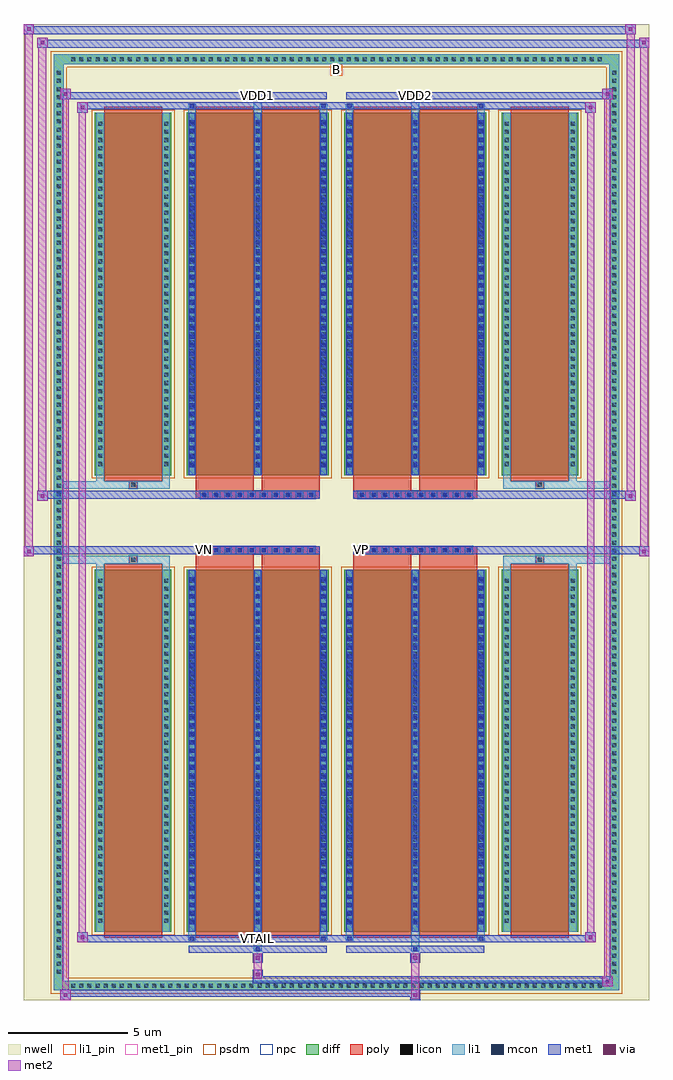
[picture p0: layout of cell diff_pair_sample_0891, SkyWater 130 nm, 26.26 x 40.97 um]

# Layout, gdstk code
import gdstk
lib = gdstk.Library(unit=1e-6, precision=5e-09)
def R(c, l, rs):  # rectangles x0, y0, x1, y1
    for r in rs: c.add(gdstk.rectangle(r[:2], r[2:], *l))
def A(c, l, x, y, w, h, nx, ny, dx, dy):  # array of equal rectangles
    R(c, l, [(x+i*dx, y+j*dy, x+i*dx+w, y+j*dy+h) for i in range(nx) for j in range(ny)])
def P(c, l, *ps):  # polygons
    for p in ps: c.add(gdstk.Polygon(p, *l))
nwell = (64, 20)
diff = (65, 20)
poly = (66, 20)
licon = (66, 44)
li1_pin = (67, 16)
li1 = (67, 20)
mcon = (67, 44)
met1_pin = (68, 16)
met1 = (68, 20)
via = (68, 44)
met2 = (69, 20)
psdm = (94, 20)
npc = (95, 20)

diff_pair_sample_0891 = lib.new_cell('diff_pair_sample_0891')
R(diff_pair_sample_0891, nwell, [(-13.13,-20.05,13.13,20.92), (-10.45,-18.24,-0.01,-0.8), (0.01,-18.24,10.45,-0.8), (-10.45,0.8,-0.01,18.24), (0.01,0.8,10.45,18.24)])
A(diff_pair_sample_0891, diff, -11.255, -19.65, 0.41, 0.41, 66, 2, 0.34, 38.89)
A(diff_pair_sample_0891, diff, -11.86, -19.075, 0.41, 0.41, 1, 112, 0, 0.34)
A(diff_pair_sample_0891, diff, 11.45, -19.075, 0.41, 0.41, 1, 112, 0, 0.34)
R(diff_pair_sample_0891, diff, [(-11.255,-19.65,11.255,-19.24), (-11.86,-19.075,-11.45,19.075), (11.45,-19.075,11.86,19.075), (-10.14,-17.195,-6.93,-1.985), (-6.29,-17.195,-0.32,-1.985), (0.32,-17.195,6.29,-1.985), (6.93,-17.195,10.14,-1.985), (-10.14,1.985,-6.93,17.195), (-6.29,1.985,-0.32,17.195), (0.32,1.985,6.29,17.195), (6.93,1.985,10.14,17.195), (-11.255,19.24,11.255,19.65)])
P(diff_pair_sample_0891, diff, [(11.86,19.65),(-11.86,19.65),(-11.86,-19.24),(-11.45,-19.24),(-11.45,19.24),(11.45,19.24),(11.45,-19.24),(-11.45,-19.24),(-11.86,-19.24),(-11.86,-19.65),(11.86,-19.65)])
A(diff_pair_sample_0891, poly, -5.72, -1.33, 0.33, 0.33, 10, 2, 0.5, 2.33)
A(diff_pair_sample_0891, poly, 0.89, -1.33, 0.33, 0.33, 10, 2, 0.5, 2.33)
R(diff_pair_sample_0891, poly, [(-9.75,-17.445,-7.32,-1.735), (-5.9,-17.445,-3.47,-1.735), (-3.14,-17.445,-0.71,-1.735), (0.71,-17.445,3.14,-1.735), (3.47,-17.445,5.9,-1.735), (7.32,-17.445,9.75,-1.735), (-8.7,-1.735,-8.37,-1.405), (-8.7,-1.735,-8.37,-1.405), (-5.9,-1.735,-3.47,-1.33), (-3.14,-1.735,-0.71,-1.33), (0.71,-1.735,3.14,-1.33), (3.47,-1.735,5.9,-1.33), (8.37,-1.735,8.7,-1.405), (8.37,-1.735,8.7,-1.405), (-5.9,-1.33,-0.71,-1), (0.71,-1.33,5.9,-1), (-5.9,1,-0.71,1.33), (0.71,1,5.9,1.33), (-5.9,1.33,-3.47,1.735), (-3.14,1.33,-0.71,1.735), (0.71,1.33,3.14,1.735), (3.47,1.33,5.9,1.735), (-8.7,1.405,-8.37,1.735), (-8.7,1.405,-8.37,1.735), (8.37,1.405,8.7,1.735), (8.37,1.405,8.7,1.735), (-9.75,1.735,-7.32,17.445), (-5.9,1.735,-3.47,17.445), (-3.14,1.735,-0.71,17.445), (0.71,1.735,3.14,17.445), (3.47,1.735,5.9,17.445), (7.32,1.735,9.75,17.445)])
A(diff_pair_sample_0891, licon, -11.135, -19.53, 0.17, 0.17, 66, 2, 0.34, 38.89)
A(diff_pair_sample_0891, licon, -11.74, -18.955, 0.17, 0.17, 1, 112, 0, 0.34)
A(diff_pair_sample_0891, licon, 11.57, -18.955, 0.17, 0.17, 1, 112, 0, 0.34)
A(diff_pair_sample_0891, licon, -10, -16.815, 0.17, 0.17, 1, 43, 0, 0.34)
A(diff_pair_sample_0891, licon, -7.24, -16.815, 0.17, 0.17, 1, 43, 0, 0.34)
A(diff_pair_sample_0891, licon, -6.15, -16.815, 0.17, 0.17, 3, 43, 2.76, 0.34)
A(diff_pair_sample_0891, licon, 0.46, -16.815, 0.17, 0.17, 3, 43, 2.76, 0.34)
A(diff_pair_sample_0891, licon, 7.07, -16.815, 0.17, 0.17, 1, 43, 0, 0.34)
A(diff_pair_sample_0891, licon, 9.83, -16.815, 0.17, 0.17, 1, 43, 0, 0.34)
A(diff_pair_sample_0891, licon, -5.64, -1.25, 0.17, 0.17, 10, 2, 0.5, 2.33)
A(diff_pair_sample_0891, licon, 0.97, -1.25, 0.17, 0.17, 10, 2, 0.5, 2.33)
A(diff_pair_sample_0891, licon, -10, 2.365, 0.17, 0.17, 1, 43, 0, 0.34)
A(diff_pair_sample_0891, licon, -7.24, 2.365, 0.17, 0.17, 1, 43, 0, 0.34)
A(diff_pair_sample_0891, licon, -6.15, 2.365, 0.17, 0.17, 3, 43, 2.76, 0.34)
A(diff_pair_sample_0891, licon, 0.46, 2.365, 0.17, 0.17, 3, 43, 2.76, 0.34)
A(diff_pair_sample_0891, licon, 7.07, 2.365, 0.17, 0.17, 1, 43, 0, 0.34)
A(diff_pair_sample_0891, licon, 9.83, 2.365, 0.17, 0.17, 1, 43, 0, 0.34)
R(diff_pair_sample_0891, licon, [(-8.62,-1.655,-8.45,-1.485), (8.45,-1.655,8.62,-1.485), (-8.62,1.485,-8.45,1.655), (8.45,1.485,8.62,1.655)])
R(diff_pair_sample_0891, li1_pin, [(-0.25,18.74,0.25,19.24)])
A(diff_pair_sample_0891, li1, -11.215, -19.61, 0.33, 0.33, 66, 2, 0.34, 38.89)
A(diff_pair_sample_0891, li1, -11.82, -19.035, 0.33, 0.33, 1, 112, 0, 0.34)
A(diff_pair_sample_0891, li1, 11.49, -19.035, 0.33, 0.33, 1, 112, 0, 0.34)
A(diff_pair_sample_0891, li1, -6.23, -17.195, 0.33, 15.21, 3, 2, 2.76, 19.18)
A(diff_pair_sample_0891, li1, 0.38, -17.195, 0.33, 15.21, 3, 2, 2.76, 19.18)
A(diff_pair_sample_0891, li1, -10.08, -16.895, 0.33, 0.33, 1, 43, 0, 0.34)
A(diff_pair_sample_0891, li1, -7.32, -16.895, 0.33, 0.33, 1, 43, 0, 0.34)
A(diff_pair_sample_0891, li1, -6.23, -16.895, 0.33, 0.33, 3, 43, 2.76, 0.34)
A(diff_pair_sample_0891, li1, 0.38, -16.895, 0.33, 0.33, 3, 43, 2.76, 0.34)
A(diff_pair_sample_0891, li1, 6.99, -16.895, 0.33, 0.33, 1, 43, 0, 0.34)
A(diff_pair_sample_0891, li1, 9.75, -16.895, 0.33, 0.33, 1, 43, 0, 0.34)
A(diff_pair_sample_0891, li1, -6.15, -16.875, 0.17, 0.17, 3, 41, 2.76, 0.36)
A(diff_pair_sample_0891, li1, -6.15, -16.875, 0.17, 14.57, 3, 2, 2.76, 19.18)
A(diff_pair_sample_0891, li1, 0.46, -16.875, 0.17, 0.17, 3, 41, 2.76, 0.36)
A(diff_pair_sample_0891, li1, 0.46, -16.875, 0.17, 14.57, 3, 2, 2.76, 19.18)
A(diff_pair_sample_0891, li1, -5.72, -1.33, 0.33, 0.33, 10, 2, 0.5, 2.33)
A(diff_pair_sample_0891, li1, 0.89, -1.33, 0.33, 0.33, 10, 2, 0.5, 2.33)
A(diff_pair_sample_0891, li1, -10.08, 2.285, 0.33, 0.33, 1, 43, 0, 0.34)
A(diff_pair_sample_0891, li1, -7.32, 2.285, 0.33, 0.33, 1, 43, 0, 0.34)
A(diff_pair_sample_0891, li1, -6.23, 2.285, 0.33, 0.33, 3, 43, 2.76, 0.34)
A(diff_pair_sample_0891, li1, 0.38, 2.285, 0.33, 0.33, 3, 43, 2.76, 0.34)
A(diff_pair_sample_0891, li1, 6.99, 2.285, 0.33, 0.33, 1, 43, 0, 0.34)
A(diff_pair_sample_0891, li1, 9.75, 2.285, 0.33, 0.33, 1, 43, 0, 0.34)
A(diff_pair_sample_0891, li1, -6.15, 2.305, 0.17, 0.17, 3, 41, 2.76, 0.36)
A(diff_pair_sample_0891, li1, 0.46, 2.305, 0.17, 0.17, 3, 41, 2.76, 0.36)
R(diff_pair_sample_0891, li1, [(-11.86,-19.65,-11.45,-19.24), (-11.86,-19.65,-11.45,-19.24), (-11.45,-19.65,11.45,-19.24), (11.45,-19.65,11.86,-19.24), (11.45,-19.65,11.86,-19.24), (-11.86,-19.24,-11.45,19.24), (11.45,-19.24,11.86,19.24), (-3.47,-18,-3.14,-17.195), (-3.39,-18,-3.22,-17.83), (3.14,-18,3.47,-17.195), (3.22,-18,3.39,-17.83), (-6.23,-17.57,-5.9,-17.195), (-6.15,-17.57,-5.98,-17.4), (-0.71,-17.57,-0.38,-17.195), (-0.63,-17.57,-0.46,-17.4), (0.38,-17.57,0.71,-17.195), (0.46,-17.57,0.63,-17.4), (5.9,-17.57,6.23,-17.195), (5.98,-17.57,6.15,-17.4), (-10.08,-17.195,-9.75,-1.985), (-7.32,-17.195,-6.99,-1.985), (6.99,-17.195,7.32,-1.985), (9.75,-17.195,10.08,-1.985), (-10.08,-1.985,-9.75,-1.405), (-7.32,-1.985,-6.99,-1.405), (6.99,-1.985,7.32,-1.405), (9.75,-1.985,10.08,-1.405), (-11.86,-1.735,-8.7,-1.405), (-10.08,-1.735,-8.7,-1.405), (-8.7,-1.735,-8.37,-1.405), (-8.37,-1.735,-6.99,-1.405), (6.99,-1.735,8.37,-1.405), (8.37,-1.735,8.7,-1.405), (8.37,-1.735,11.86,-1.405), (8.7,-1.735,10.08,-1.405), (-11.86,1.405,-8.7,1.735), (-10.08,1.405,-8.7,1.735), (-10.08,1.405,-9.75,1.985), (-8.7,1.405,-8.37,1.735), (-8.37,1.405,-6.99,1.735), (-7.32,1.405,-6.99,1.985), (6.99,1.405,8.37,1.735), (6.99,1.405,7.32,1.985), (8.37,1.405,8.7,1.735), (8.37,1.405,11.86,1.735), (8.7,1.405,10.08,1.735), (9.75,1.405,10.08,1.985), (-10.08,1.985,-9.75,17.195), (-7.32,1.985,-6.99,17.195), (6.99,1.985,7.32,17.195), (9.75,1.985,10.08,17.195), (-6.23,17.195,-5.9,17.57), (-3.47,17.195,-3.14,18), (-0.71,17.195,-0.38,17.57), (0.38,17.195,0.71,17.57), (3.14,17.195,3.47,18), (5.9,17.195,6.23,17.57), (-6.15,17.4,-5.98,17.57), (-0.63,17.4,-0.46,17.57), (0.46,17.4,0.63,17.57), (5.98,17.4,6.15,17.57), (-3.39,17.83,-3.22,18), (3.22,17.83,3.39,18), (-11.86,19.24,-11.45,19.65), (-11.86,19.24,-11.45,19.65), (-11.45,19.24,11.45,19.65), (11.45,19.24,11.86,19.65), (11.45,19.24,11.86,19.65)])
A(diff_pair_sample_0891, mcon, -6.15, -16.875, 0.17, 0.17, 3, 41, 2.76, 0.36)
A(diff_pair_sample_0891, mcon, 0.46, -16.875, 0.17, 0.17, 3, 41, 2.76, 0.36)
A(diff_pair_sample_0891, mcon, -5.64, -1.25, 0.17, 0.17, 10, 2, 0.5, 2.33)
A(diff_pair_sample_0891, mcon, 0.97, -1.25, 0.17, 0.17, 10, 2, 0.5, 2.33)
A(diff_pair_sample_0891, mcon, -6.15, 2.305, 0.17, 0.17, 3, 41, 2.76, 0.36)
A(diff_pair_sample_0891, mcon, 0.46, 2.305, 0.17, 0.17, 3, 41, 2.76, 0.36)
R(diff_pair_sample_0891, mcon, [(-3.39,-18,-3.22,-17.83), (3.22,-18,3.39,-17.83), (-6.15,-17.57,-5.98,-17.4), (-0.63,-17.57,-0.46,-17.4), (0.46,-17.57,0.63,-17.4), (5.98,-17.57,6.15,-17.4), (-6.15,17.4,-5.98,17.57), (-0.63,17.4,-0.46,17.57), (0.46,17.4,0.63,17.57), (5.98,17.4,6.15,17.57), (-3.39,17.83,-3.22,18), (3.22,17.83,3.39,18)])
R(diff_pair_sample_0891, met1_pin, [(-3.44,-17.61,-3.17,-17.34), (-5.69,-1.29,-5.42,-1.02), (0.92,-1.29,1.19,-1.02), (-3.44,17.79,-3.17,18.06), (3.17,17.79,3.44,18.06)])
A(diff_pair_sample_0891, met1, -6.21, -17.195, 0.29, 15.21, 3, 2, 2.76, 19.18)
A(diff_pair_sample_0891, met1, 0.4, -17.195, 0.29, 15.21, 3, 2, 2.76, 19.18)
A(diff_pair_sample_0891, met1, -6.21, -16.935, 0.29, 0.29, 3, 41, 2.76, 0.36)
A(diff_pair_sample_0891, met1, 0.4, -16.935, 0.29, 0.29, 3, 41, 2.76, 0.36)
A(diff_pair_sample_0891, met1, -5.7, -1.31, 0.29, 0.29, 10, 2, 0.5, 2.33)
A(diff_pair_sample_0891, met1, 0.91, -1.31, 0.29, 0.29, 10, 2, 0.5, 2.33)
A(diff_pair_sample_0891, met1, -6.21, 2.245, 0.29, 0.29, 3, 41, 2.76, 0.36)
A(diff_pair_sample_0891, met1, 0.4, 2.245, 0.29, 0.29, 3, 41, 2.76, 0.36)
R(diff_pair_sample_0891, met1, [(-11.59,-20.05,-11.16,-19.62), (3.09,-20.05,3.52,-19.62), (-11.59,-19.91,3.52,-19.62), (11.16,-19.48,11.59,-19.05), (-3.52,-19.34,11.59,-19.05), (-3.52,-19.2,-3.09,-18.77), (-3.52,-18.49,-3.09,-18.06), (3.09,-18.49,3.52,-18.06), (-6.21,-18.06,-0.4,-17.77), (-3.45,-18.06,-3.16,-17.77), (0.4,-18.06,6.21,-17.77), (3.16,-18.06,3.45,-17.77), (-10.88,-17.63,-10.45,-17.2), (-10.88,-17.63,-6.21,-17.34), (-6.21,-17.63,-5.92,-17.34), (-6.21,-17.63,-0.4,-17.34), (-0.69,-17.63,-0.4,-17.34), (-0.4,-17.63,0.4,-17.34), (0.4,-17.63,0.69,-17.34), (0.4,-17.63,6.21,-17.34), (5.92,-17.63,6.21,-17.34), (6.21,-17.63,10.88,-17.34), (10.45,-17.63,10.88,-17.2), (-13.13,-1.43,-12.7,-1), (12.7,-1.43,13.13,-1), (-13.13,-1.33,-0.71,-1), (-5.9,-1.33,-0.71,-1), (0.71,-1.33,5.9,-1), (0.71,-1.33,13.13,-1), (-12.56,0.9,-12.13,1.33), (12.13,0.9,12.56,1.33), (-12.56,1,-5.9,1.33), (-5.9,1,-0.71,1.33), (0.71,1,5.9,1.33), (5.9,1,12.56,1.33), (-10.88,17.2,-10.45,17.63), (10.45,17.2,10.88,17.63), (-10.88,17.34,-6.21,17.63), (-6.21,17.34,-5.92,17.63), (-6.21,17.34,-0.4,17.63), (-0.69,17.34,-0.4,17.63), (-0.4,17.34,0.4,17.63), (0.4,17.34,0.69,17.63), (0.4,17.34,6.21,17.63), (5.92,17.34,6.21,17.63), (6.21,17.34,10.88,17.63), (-11.59,17.77,-11.16,18.2), (-11.59,17.77,-6.21,18.06), (-6.21,17.77,-0.4,18.06), (-3.45,17.77,-3.16,18.06), (0.4,17.77,6.21,18.06), (3.16,17.77,3.45,18.06), (6.21,17.77,11.59,18.06), (11.16,17.77,11.59,18.2), (-12.56,19.92,-12.13,20.35), (-12.56,19.92,-10.45,20.25), (-10.45,19.92,10.45,20.25), (10.45,19.92,13.13,20.25), (12.7,19.92,13.13,20.35), (-13.13,20.49,-12.7,20.92), (-13.13,20.49,-10.45,20.82), (-10.45,20.49,10.45,20.82), (10.45,20.49,12.56,20.82), (12.13,20.49,12.56,20.92)])
R(diff_pair_sample_0891, via, [(-11.45,-19.91,-11.3,-19.76), (3.23,-19.91,3.38,-19.76), (11.3,-19.34,11.45,-19.19), (-3.38,-19.06,-3.23,-18.91), (-3.38,-18.35,-3.23,-18.2), (3.23,-18.35,3.38,-18.2), (-10.74,-17.49,-10.59,-17.34), (10.59,-17.49,10.74,-17.34), (-12.99,-1.29,-12.84,-1.14), (12.84,-1.29,12.99,-1.14), (-12.42,1.04,-12.27,1.19), (12.27,1.04,12.42,1.19), (-10.74,17.34,-10.59,17.49), (10.59,17.34,10.74,17.49), (-11.45,17.91,-11.3,18.06), (11.3,17.91,11.45,18.06), (-12.42,20.06,-12.27,20.21), (12.84,20.06,12.99,20.21), (-12.99,20.63,-12.84,20.78), (12.27,20.63,12.42,20.78)])
R(diff_pair_sample_0891, met2, [(-11.59,-20.05,-11.16,-19.62), (-11.52,-20.05,-11.23,18.2), (-11.23,-20.05,-11.16,-19.62), (-11.54,-20,-11.21,-19.67), (3.14,-20,3.47,-19.67), (3.14,-19.67,3.47,-18.44), (11.16,-19.48,11.59,-19.05), (11.23,-19.48,11.52,18.2), (11.52,-19.48,11.59,-19.05), (11.21,-19.43,11.54,-19.1), (-3.47,-19.15,-3.14,-18.82), (-3.47,-18.82,-3.14,-18.44), (-3.47,-18.44,-3.14,-18.11), (3.14,-18.44,3.47,-18.11), (-10.88,-17.63,-10.45,-17.2), (-10.81,-17.63,-10.52,17.63), (-10.52,-17.63,-10.45,-17.2), (10.45,-17.63,10.88,-17.2), (10.52,-17.63,10.81,17.63), (10.81,-17.63,10.88,-17.2), (-10.83,-17.58,-10.5,-17.25), (10.5,-17.58,10.83,-17.25), (-13.13,-1.43,-12.7,-1), (-13.08,-1.43,-12.75,20.92), (-12.75,-1.43,-12.7,-1), (12.7,-1.43,13.13,-1), (12.75,-1.43,13.08,20.35), (13.08,-1.43,13.13,-1), (-13.08,-1.38,-12.75,-1.05), (12.75,-1.38,13.08,-1.05), (-12.56,0.9,-12.13,1.33), (-12.51,0.9,-12.18,20.35), (-12.18,0.9,-12.13,1.33), (12.13,0.9,12.56,1.33), (12.18,0.9,12.51,20.92), (12.51,0.9,12.56,1.33), (-12.51,0.95,-12.18,1.28), (12.18,0.95,12.51,1.28), (-10.88,17.2,-10.45,17.63), (-10.52,17.2,-10.45,17.63), (10.45,17.2,10.88,17.63), (10.81,17.2,10.88,17.63), (-10.83,17.25,-10.5,17.58), (10.5,17.25,10.83,17.58), (-11.59,17.77,-11.16,18.2), (-11.23,17.77,-11.16,18.2), (11.16,17.77,11.59,18.2), (11.52,17.77,11.59,18.2), (-11.54,17.82,-11.21,18.15), (11.21,17.82,11.54,18.15), (-12.56,19.92,-12.13,20.35), (-12.18,19.92,-12.13,20.35), (12.7,19.92,13.13,20.35), (13.08,19.92,13.13,20.35), (-12.51,19.97,-12.18,20.3), (12.75,19.97,13.08,20.3), (-13.13,20.49,-12.7,20.92), (-12.75,20.49,-12.7,20.92), (12.13,20.49,12.56,20.92), (12.51,20.49,12.56,20.92), (-13.08,20.54,-12.75,20.87), (12.18,20.54,12.51,20.87)])
R(diff_pair_sample_0891, psdm, [(-10.27,-17.325,-6.8,-1.855), (-6.42,-17.325,-0.19,-1.855), (0.19,-17.325,6.42,-1.855), (6.8,-17.325,10.27,-1.855), (-10.27,1.855,-6.8,17.325), (-6.42,1.855,-0.19,17.325), (0.19,1.855,6.42,17.325), (6.8,1.855,10.27,17.325)])
P(diff_pair_sample_0891, psdm, [(11.99,19.78),(-11.99,19.78),(-11.99,-19.11),(-11.32,-19.11),(-11.32,19.11),(11.32,19.11),(11.32,-19.11),(-11.32,-19.11),(-11.99,-19.11),(-11.99,-19.78),(11.99,-19.78)])
A(diff_pair_sample_0891, npc, -5.74, -1.35, 0.37, 0.37, 10, 2, 0.5, 2.33)
A(diff_pair_sample_0891, npc, 0.87, -1.35, 0.37, 0.37, 10, 2, 0.5, 2.33)
R(diff_pair_sample_0891, npc, [(-8.72,-1.755,-8.35,-1.385), (8.35,-1.755,8.72,-1.385), (-5.74,-1.35,-4.87,-0.98), (-5.74,-1.35,-4.87,-0.98), (-5.24,-1.35,-4.37,-0.98), (-5.24,-1.35,-4.37,-0.98), (-4.74,-1.35,-3.87,-0.98), (-4.74,-1.35,-3.87,-0.98), (-4.24,-1.35,-3.37,-0.98), (-4.24,-1.35,-3.37,-0.98), (-3.74,-1.35,-2.87,-0.98), (-3.74,-1.35,-2.87,-0.98), (-3.24,-1.35,-2.37,-0.98), (-3.24,-1.35,-2.37,-0.98), (-2.74,-1.35,-1.87,-0.98), (-2.74,-1.35,-1.87,-0.98), (-2.24,-1.35,-1.37,-0.98), (-2.24,-1.35,-1.37,-0.98), (-1.74,-1.35,-0.87,-0.98), (-1.74,-1.35,-0.87,-0.98), (0.87,-1.35,1.74,-0.98), (0.87,-1.35,1.74,-0.98), (1.37,-1.35,2.24,-0.98), (1.37,-1.35,2.24,-0.98), (1.87,-1.35,2.74,-0.98), (1.87,-1.35,2.74,-0.98), (2.37,-1.35,3.24,-0.98), (2.37,-1.35,3.24,-0.98), (2.87,-1.35,3.74,-0.98), (2.87,-1.35,3.74,-0.98), (3.37,-1.35,4.24,-0.98), (3.37,-1.35,4.24,-0.98), (3.87,-1.35,4.74,-0.98), (3.87,-1.35,4.74,-0.98), (4.37,-1.35,5.24,-0.98), (4.37,-1.35,5.24,-0.98), (4.87,-1.35,5.74,-0.98), (4.87,-1.35,5.74,-0.98), (-5.74,0.98,-4.87,1.35), (-5.74,0.98,-4.87,1.35), (-5.24,0.98,-4.37,1.35), (-5.24,0.98,-4.37,1.35), (-4.74,0.98,-3.87,1.35), (-4.74,0.98,-3.87,1.35), (-4.24,0.98,-3.37,1.35), (-4.24,0.98,-3.37,1.35), (-3.74,0.98,-2.87,1.35), (-3.74,0.98,-2.87,1.35), (-3.24,0.98,-2.37,1.35), (-3.24,0.98,-2.37,1.35), (-2.74,0.98,-1.87,1.35), (-2.74,0.98,-1.87,1.35), (-2.24,0.98,-1.37,1.35), (-2.24,0.98,-1.37,1.35), (-1.74,0.98,-0.87,1.35), (-1.74,0.98,-0.87,1.35), (0.87,0.98,1.74,1.35), (0.87,0.98,1.74,1.35), (1.37,0.98,2.24,1.35), (1.37,0.98,2.24,1.35), (1.87,0.98,2.74,1.35), (1.87,0.98,2.74,1.35), (2.37,0.98,3.24,1.35), (2.37,0.98,3.24,1.35), (2.87,0.98,3.74,1.35), (2.87,0.98,3.74,1.35), (3.37,0.98,4.24,1.35), (3.37,0.98,4.24,1.35), (3.87,0.98,4.74,1.35), (3.87,0.98,4.74,1.35), (4.37,0.98,5.24,1.35), (4.37,0.98,5.24,1.35), (4.87,0.98,5.74,1.35), (4.87,0.98,5.74,1.35), (-8.72,1.385,-8.35,1.755), (8.35,1.385,8.72,1.755)])
diff_pair_sample_0891.add(gdstk.Label('VTAIL', (-3.305,-17.475), layer=68, texttype=5))
diff_pair_sample_0891.add(gdstk.Label('VN', (-5.555,-1.155), layer=68, texttype=5))
diff_pair_sample_0891.add(gdstk.Label('VP', (1.055,-1.155), layer=68, texttype=5))
diff_pair_sample_0891.add(gdstk.Label('B', (0,18.99), layer=67, texttype=5))
diff_pair_sample_0891.add(gdstk.Label('VDD2', (3.305,17.925), layer=68, texttype=5))
diff_pair_sample_0891.add(gdstk.Label('VDD1', (-3.305,17.925), layer=68, texttype=5))

lib.write_gds('diff_pair_sample_0891.gds')
